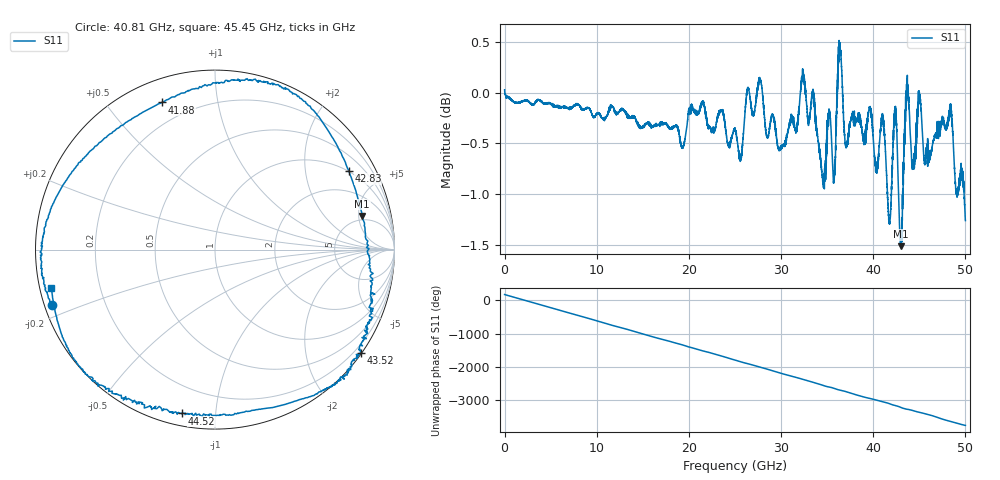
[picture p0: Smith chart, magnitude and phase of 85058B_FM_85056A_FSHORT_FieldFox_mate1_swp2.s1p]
!Created with skrf (http://scikit-rf.org).
# Hz S RI R 50.0
!freq ReS11 ImS11
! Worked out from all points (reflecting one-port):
!   10000 points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, 5.3 MHz to 50 GHz, reference 50 ohm
!   lowest |S11| = -1.5 dB at 42.98 GHz (marker M1), VSWR 11.54, Z = 217 + j277 ohm
!   phase of S11 starts at 180 deg and turns -3953 deg over the sweep
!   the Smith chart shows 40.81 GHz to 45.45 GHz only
!   S11 on the Smith chart (normalised r, x): 40.81 GHz: 0.02, -0.16; 41.88 GHz: 0.10, +0.70; 42.83 GHz: 0.98, +3.41; 43.52 GHz: 0.02, -3.14; 44.52 GHz: 0.06, -0.82; 45.45 GHz: 0.03, -0.12
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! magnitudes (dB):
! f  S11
! 5.3 MHz  0.0
! 6.255 GHz  -0.1
! 12.51 GHz  -0.2
! 18.76 GHz  -0.3
! 25.01 GHz  -0.4
! 27.69 GHz  0.1
! 29.82 GHz  -0.6
! 31.26 GHz  -0.2
! 32.42 GHz  0.2
! 34.52 GHz  -0.9
! 35.21 GHz  -0.2
! 35.73 GHz  -0.9
! 36.39 GHz  0.4
! 37 GHz  -0.5
! 37.51 GHz  -0.3
! 40.35 GHz  -0.8
! 40.81 GHz  -0.4
! 41.88 GHz  -1.2
! 42.38 GHz  -0.1
! 42.83 GHz  -1.3
! 42.98 GHz  -1.5
! 43.52 GHz  0.0
! 43.76 GHz  0.0
! 44.52 GHz  -0.6
! 45.01 GHz  0.0
! 45.45 GHz  -0.6
! 48.35 GHz  -0.2
! 50 GHz  -1.3
